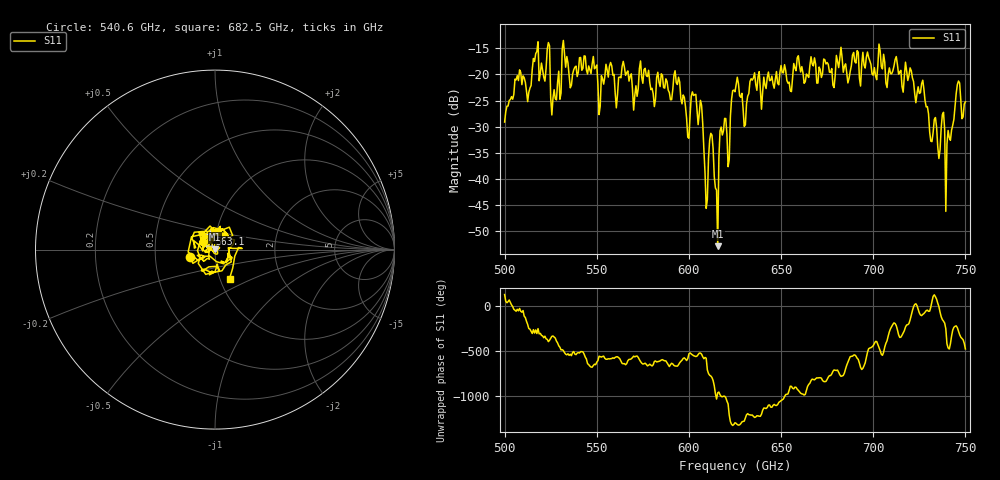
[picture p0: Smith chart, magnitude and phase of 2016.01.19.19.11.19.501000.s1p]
!Created with skrf (http://scikit-rf.org).
# GHz S RI R 50.0
!freq ReS11 ImS11
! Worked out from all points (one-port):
!   401 points, 500 GHz to 750 GHz, reference 50 ohm
!   lowest |S11| = -52.8 dB at 615.6 GHz (marker M1), VSWR 1.00, Z = 49.9 + j0.209 ohm
!   |S11| at or under -10 dB: start of sweep to end of sweep
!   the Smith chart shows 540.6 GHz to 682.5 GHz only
!   S11 on the Smith chart (normalised r, x): 540.6 GHz: 0.76, -0.07; 563.1 GHz: 0.93, +0.17; 682.5 GHz: 1.11, -0.37
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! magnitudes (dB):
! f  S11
! 500 GHz  -29.1
! 513.1 GHz  -23.4
! 516.9 GHz  -16.0
! 523.1 GHz  -15.2
! 526.2 GHz  -24.5
! 531.2 GHz  -15.2
! 540.6 GHz  -16.8
! 562.5 GHz  -20.5
! 563.1 GHz  -20.7
! 593.8 GHz  -21.9
! 599.4 GHz  -32.0
! 603.1 GHz  -23.9
! 606.9 GHz  -25.9
! 609.4 GHz  -45.6
! 611.9 GHz  -31.3
! 615.6 GHz  -52.8
! 618.1 GHz  -31.6
! 621.2 GHz  -37.6
! 625 GHz  -23.3
! 630.6 GHz  -29.7
! 634.4 GHz  -21.1
! 656.2 GHz  -20.5
! 682.5 GHz  -14.8
! 687.5 GHz  -19.4
! 718.8 GHz  -21.2
! 740.6 GHz  -30.7
! 745.6 GHz  -22.0
! 750 GHz  -25.2
